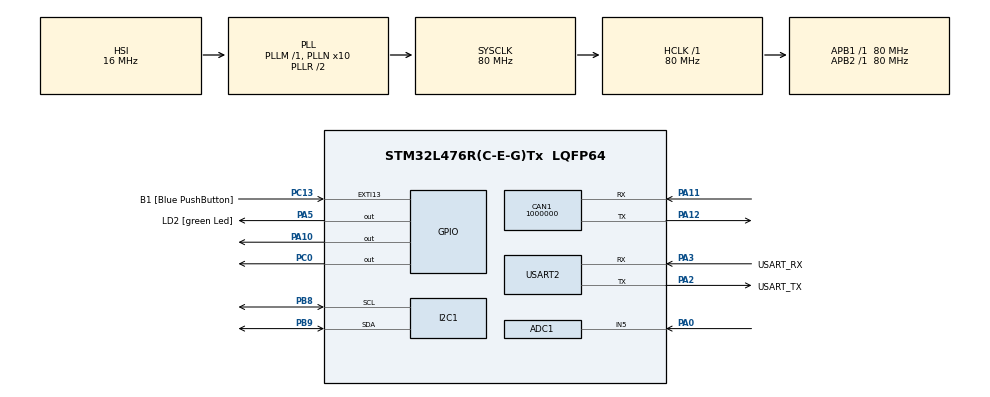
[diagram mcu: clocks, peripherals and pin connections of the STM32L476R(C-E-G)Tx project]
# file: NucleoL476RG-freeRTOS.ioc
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ADC1.Channel-0\#ChannelRegularConversion=ADC_CHANNEL_5
ADC1.NbrOfConversionFlag=1
ADC1.OffsetNumber-0\#ChannelRegularConversion=ADC_OFFSET_NONE
ADC1.Rank-0\#ChannelRegularConversion=1
ADC1.SamplingTime-0\#ChannelRegularConversion=ADC_SAMPLETIME_2CYCLES_5
ADC1.master=1
CAN1.BS1=CAN_BS1_2TQ
CAN1.BS2=CAN_BS2_2TQ
CAN1.CalculateBaudRate=1000000
CAN1.CalculateTimeBit=1000.00
CAN1.CalculateTimeQuantum=200.0
FREERTOS.Tasks01=defaultTask,24,128,StartDefaultTask,Default,NULL,Dynamic,NULL,NULL;blinkyTask01,16,128,StartBlinkyTask01,Default,NULL,Dynamic,NULL,NULL;ReadAndPrintTas,32,128,StartTaskReadAndPrint01,Default,NULL,Dynamic,NULL,NULL;updateLCD,16,128,StartTaskUpdateLCD,Default,NULL,Dynamic,NULL,NULL
I2C1.Timing=0x10909CEC
Mcu.Family=STM32L4
Mcu.Name=STM32L476R(C-E-G)Tx
Mcu.Package=LQFP64
NVIC.CAN1_RX0_IRQn=true\:5\:0\:false\:false\:true\:true\:true\:true
NVIC.PriorityGroup=NVIC_PRIORITYGROUP_4
NVIC.TIM6_DAC_IRQn=true\:0\:0\:false\:false\:true\:false\:false\:true
NVIC.TimeBase=TIM6_DAC_IRQn
NVIC.TimeBaseIP=TIM6
PA0.Signal=ADCx_IN5
PA10.Signal=GPIO_Output
PA11.Mode=CAN_Activate
PA11.Signal=CAN1_RX
PA12.Mode=CAN_Activate
PA12.Signal=CAN1_TX
PA13\ (JTMS-SWDIO).GPIO_Label=TMS
PA13\ (JTMS-SWDIO).Mode=Serial_Wire
PA13\ (JTMS-SWDIO).Signal=SYS_JTMS-SWDIO
PA14\ (JTCK-SWCLK).GPIO_Label=TCK
PA14\ (JTCK-SWCLK).Mode=Serial_Wire
PA14\ (JTCK-SWCLK).Signal=SYS_JTCK-SWCLK
PA2.GPIO_Label=USART_TX
PA2.GPIO_Mode=GPIO_MODE_AF_PP
PA2.GPIO_PuPd=GPIO_NOPULL
PA2.GPIO_Speed=GPIO_SPEED_FREQ_VERY_HIGH
PA2.Mode=Asynchronous
PA2.Signal=USART2_TX
PA3.GPIO_Label=USART_RX
PA3.GPIO_Mode=GPIO_MODE_AF_PP
PA3.GPIO_PuPd=GPIO_NOPULL
PA3.GPIO_Speed=GPIO_SPEED_FREQ_VERY_HIGH
PA3.Mode=Asynchronous
PA3.Signal=USART2_RX
PA5.GPIO_Label=LD2 [green Led]
PA5.GPIO_ModeDefaultOutputPP=GPIO_MODE_OUTPUT_PP
PA5.GPIO_PuPd=GPIO_NOPULL
PA5.GPIO_Speed=GPIO_SPEED_FREQ_LOW
PA5.Signal=GPIO_Output
PB3\ (JTDO-TRACESWO).GPIO_Label=SWO
PB3\ (JTDO-TRACESWO).Signal=SYS_JTDO-SWO
PB8.Mode=I2C
PB8.Signal=I2C1_SCL
PB9.Mode=I2C
PB9.Signal=I2C1_SDA
PC0.Signal=GPIO_Output
PC13.GPIO_Label=B1 [Blue PushButton]
PC13.GPIO_ModeDefaultEXTI=GPIO_MODE_IT_FALLING
PC13.GPIO_PuPd=GPIO_NOPULL
PC13.Signal=GPXTI13
PC14-OSC32_IN\ (PC14).Mode=LSE-External-Oscillator
PC14-OSC32_IN\ (PC14).Signal=RCC_OSC32_IN
PC15-OSC32_OUT\ (PC15).Mode=LSE-External-Oscillator
PC15-OSC32_OUT\ (PC15).Signal=RCC_OSC32_OUT
PH0-OSC_IN\ (PH0).Signal=RCC_OSC_IN
PH1-OSC_OUT\ (PH1).Signal=RCC_OSC_OUT
ProjectManager.HeapSize=0x200
ProjectManager.StackSize=0x400
ProjectManager.TargetToolchain=STM32CubeIDE
RCC.ADCFreq_Value=64000000
RCC.AHBFreq_Value=80000000
RCC.APB1Freq_Value=80000000
RCC.APB1TimFreq_Value=80000000
RCC.APB2Freq_Value=80000000
RCC.APB2TimFreq_Value=80000000
RCC.CortexFreq_Value=80000000
RCC.HCLKFreq_Value=80000000
RCC.HSE_VALUE=8000000
RCC.HSI_VALUE=16000000
RCC.MSI_VALUE=4000000
RCC.PLLN=10
RCC.PLLSourceVirtual=RCC_PLLSOURCE_HSI
RCC.PREFETCH_ENABLE=1
RCC.SYSCLKFreq_VALUE=80000000
RCC.SYSCLKSource=RCC_SYSCLKSOURCE_PLLCLK
RCC.USBFreq_Value=64000000
RCC.VCOOutputFreq_Value=160000000
SH.ADCx_IN5.0=ADC1_IN5,IN5-Single-Ended
USART2.VirtualMode-Asynchronous=VM_ASYNC
VP_FREERTOS_VS_CMSIS_V2.Mode=CMSIS_V2
VP_SYS_VS_tim6.Mode=TIM6
board=NUCLEO-L476RG

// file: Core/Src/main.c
/* USER CODE BEGIN Header */
/**
  ******************************************************************************
  * @file           : main.c
  * @brief          : Main program body
  ******************************************************************************
  * @attention
  *
  * <h2><center>&copy; Copyright (c) 2020 STMicroelectronics.
  * All rights reserved.</center></h2>
  *
  * This software component is licensed by ST under BSD 3-Clause license,
  * the "License"; You may not use this file except in compliance with the
  * License. You may obtain a copy of the License at:
  *                        opensource.org/licenses/BSD-3-Clause
  *
  ******************************************************************************
  */
/* USER CODE END Header */
#include "main.h"
#include "cmsis_os.h"

/* USER CODE BEGIN Includes */
#include <string.h>
#include <stdio.h>
#include "i2c-lcd.h"
/* USER CODE END Includes */

/* USER CODE BEGIN PD */

/*CONFIGURE FUNCTIONS HERE!
 * */

#define USING_LCD 1
#define ADC_READ 0
#define USING_UART 0
/* USER CODE END PD */

/* USER CODE BEGIN PM */
uint16_t raw;
char message[8];

CAN_HandleTypeDef hcan1;
CAN_TxHeaderTypeDef TxHeader;
CAN_RxHeaderTypeDef RxHeader;

//char CanMsg[8] ={"Mathias\0"};
//char comMsg[50];
uint16_t OwnID = 0x124, RemoteID = 0x0; //Swap OwnID when programming. Receiver: 0x124 Sender:0x123 RemoteID has no impact in current implementation.
//uint32_t startTime = 0, stopTime = 0;
/* USER CODE END PM */

ADC_HandleTypeDef hadc1;

CAN_HandleTypeDef hcan1;

I2C_HandleTypeDef hi2c1;

UART_HandleTypeDef huart2;

/* Definitions for defaultTask */
osThreadId_t defaultTaskHandle;
const osThreadAttr_t defaultTask_attributes = {
  .name = "defaultTask",
  .priority = (osPriority_t) osPriorityNormal,
  .stack_size = 128 * 4
};
/* Definitions for blinkyTask01 */
osThreadId_t blinkyTask01Handle;
const osThreadAttr_t blinkyTask01_attributes = {
  .name = "blinkyTask01",
  .priority = (osPriority_t) osPriorityBelowNormal,
  .stack_size = 128 * 4
};
/* Definitions for ReadAndPrintTas */
osThreadId_t ReadAndPrintTasHandle;
const osThreadAttr_t ReadAndPrintTas_attributes = {
  .name = "ReadAndPrintTas",
  .priority = (osPriority_t) osPriorityAboveNormal,
  .stack_size = 128 * 4
};
/* Definitions for updateLCD */
osThreadId_t updateLCDHandle;
const osThreadAttr_t updateLCD_attributes = {
  .name = "updateLCD",
  .priority = (osPriority_t) osPriorityBelowNormal,
  .stack_size = 128 * 4
};

void SystemClock_Config(void);
static void MX_GPIO_Init(void);
static void MX_USART2_UART_Init(void);
static void MX_ADC1_Init(void);
static void MX_CAN1_Init(void);
static void MX_I2C1_Init(void);
void StartDefaultTask(void *argument);
void StartBlinkyTask01(void *argument);
void StartTaskReadAndPrint01(void *argument);
void StartTaskUpdateLCD(void *argument);

/* USER CODE BEGIN PFP */
void serialMsg(char msg[]);
void serialClear(void);
void HAL_CAN_RxFifo0FullCallBack(CAN_HandleTypeDef *hcan);
void CAN_filterConfig(void);
void CAN_Tx(char msg[]);
void CAN_Rx(void);
//void delay(uint16_t delay);
/* USER CODE END PFP */

int main(void)
{

  /* MCU Configuration--------------------------------------------------------*/

  /* Reset of all peripherals, Initializes the Flash interface and the Systick. */
  HAL_Init();

  /* Configure the system clock */
  SystemClock_Config();

  /* Initialize all configured peripherals */
  MX_GPIO_Init();
  MX_USART2_UART_Init();
  MX_ADC1_Init();
  MX_CAN1_Init();
  MX_I2C1_Init();
  /* USER CODE BEGIN 2 */
  if(USING_LCD){
	  lcd_init();

	  lcd_send_string("LCD Init");

	  HAL_Delay(3000);

	  lcd_clear();
  }

  /* USER CODE END 2 */

  /* Init scheduler */
  osKernelInitialize();

  /* Create the thread(s) */
  /* creation of defaultTask */
  defaultTaskHandle = osThreadNew(StartDefaultTask, NULL, &defaultTask_attributes);

  /* creation of blinkyTask01 */
  blinkyTask01Handle = osThreadNew(StartBlinkyTask01, NULL, &blinkyTask01_attributes);

  /* creation of ReadAndPrintTas */
  ReadAndPrintTasHandle = osThreadNew(StartTaskReadAndPrint01, NULL, &ReadAndPrintTas_attributes);

  /* creation of updateLCD */
  updateLCDHandle = osThreadNew(StartTaskUpdateLCD, NULL, &updateLCD_attributes);

  /* Start scheduler */
  osKernelStart();

  /* We should never get here as control is now taken by the scheduler */
  /* Infinite loop */
  while (1)
  {

  }
}

void SystemClock_Config(void)
{
  RCC_OscInitTypeDef RCC_OscInitStruct = {0};
  RCC_ClkInitTypeDef RCC_ClkInitStruct = {0};
  RCC_PeriphCLKInitTypeDef PeriphClkInit = {0};

  /** Initializes the RCC Oscillators according to the specified parameters
  * in the RCC_OscInitTypeDef structure.
  */
  RCC_OscInitStruct.OscillatorType = RCC_OSCILLATORTYPE_HSI;
  RCC_OscInitStruct.HSIState = RCC_HSI_ON;
  RCC_OscInitStruct.HSICalibrationValue = RCC_HSICALIBRATION_DEFAULT;
  RCC_OscInitStruct.PLL.PLLState = RCC_PLL_ON;
  RCC_OscInitStruct.PLL.PLLSource = RCC_PLLSOURCE_HSI;
  RCC_OscInitStruct.PLL.PLLM = 1;
  RCC_OscInitStruct.PLL.PLLN = 10;
  RCC_OscInitStruct.PLL.PLLP = RCC_PLLP_DIV7;
  RCC_OscInitStruct.PLL.PLLQ = RCC_PLLQ_DIV2;
  RCC_OscInitStruct.PLL.PLLR = RCC_PLLR_DIV2;
  if (HAL_RCC_OscConfig(&RCC_OscInitStruct) != HAL_OK)
  {
    Error_Handler();
  }
  /** Initializes the CPU, AHB and APB buses clocks
  */
  RCC_ClkInitStruct.ClockType = RCC_CLOCKTYPE_HCLK|RCC_CLOCKTYPE_SYSCLK
                              |RCC_CLOCKTYPE_PCLK1|RCC_CLOCKTYPE_PCLK2;
  RCC_ClkInitStruct.SYSCLKSource = RCC_SYSCLKSOURCE_PLLCLK;
  RCC_ClkInitStruct.AHBCLKDivider = RCC_SYSCLK_DIV1;
  RCC_ClkInitStruct.APB1CLKDivider = RCC_HCLK_DIV1;
  RCC_ClkInitStruct.APB2CLKDivider = RCC_HCLK_DIV1;

  if (HAL_RCC_ClockConfig(&RCC_ClkInitStruct, FLASH_LATENCY_4) != HAL_OK)
  {
    Error_Handler();
  }
  PeriphClkInit.PeriphClockSelection = RCC_PERIPHCLK_USART2|RCC_PERIPHCLK_I2C1
                              |RCC_PERIPHCLK_ADC;
  PeriphClkInit.Usart2ClockSelection = RCC_USART2CLKSOURCE_PCLK1;
  PeriphClkInit.I2c1ClockSelection = RCC_I2C1CLKSOURCE_PCLK1;
  PeriphClkInit.AdcClockSelection = RCC_ADCCLKSOURCE_PLLSAI1;
  PeriphClkInit.PLLSAI1.PLLSAI1Source = RCC_PLLSOURCE_HSI;
  PeriphClkInit.PLLSAI1.PLLSAI1M = 1;
  PeriphClkInit.PLLSAI1.PLLSAI1N = 8;
  PeriphClkInit.PLLSAI1.PLLSAI1P = RCC_PLLP_DIV7;
  PeriphClkInit.PLLSAI1.PLLSAI1Q = RCC_PLLQ_DIV2;
  PeriphClkInit.PLLSAI1.PLLSAI1R = RCC_PLLR_DIV2;
  PeriphClkInit.PLLSAI1.PLLSAI1ClockOut = RCC_PLLSAI1_ADC1CLK;
  if (HAL_RCCEx_PeriphCLKConfig(&PeriphClkInit) != HAL_OK)
  {
    Error_Handler();
  }
  /** Configure the main internal regulator output voltage
  */
  if (HAL_PWREx_ControlVoltageScaling(PWR_REGULATOR_VOLTAGE_SCALE1) != HAL_OK)
  {
    Error_Handler();
  }
}

static void MX_ADC1_Init(void)
{

  ADC_MultiModeTypeDef multimode = {0};
  ADC_ChannelConfTypeDef sConfig = {0};

  /** Common config
  */
  hadc1.Instance = ADC1;
  hadc1.Init.ClockPrescaler = ADC_CLOCK_ASYNC_DIV1;
  hadc1.Init.Resolution = ADC_RESOLUTION_12B;
  hadc1.Init.DataAlign = ADC_DATAALIGN_RIGHT;
  hadc1.Init.ScanConvMode = ADC_SCAN_DISABLE;
  hadc1.Init.EOCSelection = ADC_EOC_SINGLE_CONV;
  hadc1.Init.LowPowerAutoWait = DISABLE;
  hadc1.Init.ContinuousConvMode = DISABLE;
  hadc1.Init.NbrOfConversion = 1;
  hadc1.Init.DiscontinuousConvMode = DISABLE;
  hadc1.Init.ExternalTrigConv = ADC_SOFTWARE_START;
  hadc1.Init.ExternalTrigConvEdge = ADC_EXTERNALTRIGCONVEDGE_NONE;
  hadc1.Init.DMAContinuousRequests = DISABLE;
  hadc1.Init.Overrun = ADC_OVR_DATA_PRESERVED;
  hadc1.Init.OversamplingMode = DISABLE;
  if (HAL_ADC_Init(&hadc1) != HAL_OK)
  {
    Error_Handler();
  }
  /** Configure the ADC multi-mode
  */
  multimode.Mode = ADC_MODE_INDEPENDENT;
  if (HAL_ADCEx_MultiModeConfigChannel(&hadc1, &multimode) != HAL_OK)
  {
    Error_Handler();
  }
  /** Configure Regular Channel
  */
  sConfig.Channel = ADC_CHANNEL_5;
  sConfig.Rank = ADC_REGULAR_RANK_1;
  sConfig.SamplingTime = ADC_SAMPLETIME_2CYCLES_5;
  sConfig.SingleDiff = ADC_SINGLE_ENDED;
  sConfig.OffsetNumber = ADC_OFFSET_NONE;
  sConfig.Offset = 0;
  if (HAL_ADC_ConfigChannel(&hadc1, &sConfig) != HAL_OK)
  {
    Error_Handler();
  }

}

static void MX_CAN1_Init(void)
{

  hcan1.Instance = CAN1;
  hcan1.Init.Prescaler = 16;
  hcan1.Init.Mode = CAN_MODE_NORMAL;
  hcan1.Init.SyncJumpWidth = CAN_SJW_1TQ;
  hcan1.Init.TimeSeg1 = CAN_BS1_2TQ;
  hcan1.Init.TimeSeg2 = CAN_BS2_2TQ;
  hcan1.Init.TimeTriggeredMode = DISABLE;
  hcan1.Init.AutoBusOff = DISABLE;
  hcan1.Init.AutoWakeUp = DISABLE;
  hcan1.Init.AutoRetransmission = DISABLE;
  hcan1.Init.ReceiveFifoLocked = DISABLE;
  hcan1.Init.TransmitFifoPriority = DISABLE;
  if (HAL_CAN_Init(&hcan1) != HAL_OK)
  {
    Error_Handler();
  }
  /* USER CODE BEGIN CAN1_Init 2 */
  CAN_FilterTypeDef sf;
  sf.FilterBank = 0;
  sf.FilterMode = CAN_FILTERMODE_IDMASK;
  sf.FilterScale = CAN_FILTERSCALE_16BIT;
  sf.FilterIdLow = 0xffff;
  sf.FilterIdHigh = 0x1fff;
  sf.FilterMaskIdLow = 0x0000;
  sf.FilterMaskIdHigh = 0x0000;
  sf.FilterFIFOAssignment = CAN_RX_FIFO0;
  sf.SlaveStartFilterBank = 0;
  sf.FilterActivation = ENABLE;
  if (HAL_CAN_ConfigFilter(&hcan1, &sf) != HAL_OK) {
      Error_Handler();
  }

  if (HAL_CAN_Start(&hcan1) != HAL_OK) {
      Error_Handler();
  }

  if (HAL_CAN_ActivateNotification(&hcan1, CAN_IT_RX_FIFO0_MSG_PENDING) != HAL_OK) {
      Error_Handler();
  }
  /* USER CODE END CAN1_Init 2 */

}

static void MX_I2C1_Init(void)
{

  hi2c1.Instance = I2C1;
  hi2c1.Init.Timing = 0x10909CEC;
  hi2c1.Init.OwnAddress1 = 0;
  hi2c1.Init.AddressingMode = I2C_ADDRESSINGMODE_7BIT;
  hi2c1.Init.DualAddressMode = I2C_DUALADDRESS_DISABLE;
  hi2c1.Init.OwnAddress2 = 0;
  hi2c1.Init.OwnAddress2Masks = I2C_OA2_NOMASK;
  hi2c1.Init.GeneralCallMode = I2C_GENERALCALL_DISABLE;
  hi2c1.Init.NoStretchMode = I2C_NOSTRETCH_DISABLE;
  if (HAL_I2C_Init(&hi2c1) != HAL_OK)
  {
    Error_Handler();
  }
  /** Configure Analogue filter
  */
  if (HAL_I2CEx_ConfigAnalogFilter(&hi2c1, I2C_ANALOGFILTER_ENABLE) != HAL_OK)
  {
    Error_Handler();
  }
  /** Configure Digital filter
  */
  if (HAL_I2CEx_ConfigDigitalFilter(&hi2c1, 0) != HAL_OK)
  {
    Error_Handler();
  }

}

static void MX_USART2_UART_Init(void)
{

  huart2.Instance = USART2;
  huart2.Init.BaudRate = 115200;
  huart2.Init.WordLength = UART_WORDLENGTH_8B;
  huart2.Init.StopBits = UART_STOPBITS_1;
  huart2.Init.Parity = UART_PARITY_NONE;
  huart2.Init.Mode = UART_MODE_TX_RX;
  huart2.Init.HwFlowCtl = UART_HWCONTROL_NONE;
  huart2.Init.OverSampling = UART_OVERSAMPLING_16;
  huart2.Init.OneBitSampling = UART_ONE_BIT_SAMPLE_DISABLE;
  huart2.AdvancedInit.AdvFeatureInit = UART_ADVFEATURE_NO_INIT;
  if (HAL_UART_Init(&huart2) != HAL_OK)
  {
    Error_Handler();
  }

}

static void MX_GPIO_Init(void)
{
  GPIO_InitTypeDef GPIO_InitStruct = {0};

  /* GPIO Ports Clock Enable */
  __HAL_RCC_GPIOC_CLK_ENABLE();
  __HAL_RCC_GPIOH_CLK_ENABLE();
  __HAL_RCC_GPIOA_CLK_ENABLE();
  __HAL_RCC_GPIOB_CLK_ENABLE();

  /*Configure GPIO pin Output Level */
  HAL_GPIO_WritePin(GPIOC, GPIO_PIN_0, GPIO_PIN_RESET);

  /*Configure GPIO pin Output Level */
  HAL_GPIO_WritePin(GPIOA, LD2_Pin|GPIO_PIN_10, GPIO_PIN_RESET);

  /*Configure GPIO pin : B1_Pin */
  GPIO_InitStruct.Pin = B1_Pin;
  GPIO_InitStruct.Mode = GPIO_MODE_IT_FALLING;
  GPIO_InitStruct.Pull = GPIO_NOPULL;
  HAL_GPIO_Init(B1_GPIO_Port, &GPIO_InitStruct);

  /*Configure GPIO pin : PC0 */
  GPIO_InitStruct.Pin = GPIO_PIN_0;
  GPIO_InitStruct.Mode = GPIO_MODE_OUTPUT_PP;
  GPIO_InitStruct.Pull = GPIO_NOPULL;
  GPIO_InitStruct.Speed = GPIO_SPEED_FREQ_LOW;
  HAL_GPIO_Init(GPIOC, &GPIO_InitStruct);

  /*Configure GPIO pins : LD2_Pin PA10 */
  GPIO_InitStruct.Pin = LD2_Pin|GPIO_PIN_10;
  GPIO_InitStruct.Mode = GPIO_MODE_OUTPUT_PP;
  GPIO_InitStruct.Pull = GPIO_NOPULL;
  GPIO_InitStruct.Speed = GPIO_SPEED_FREQ_LOW;
  HAL_GPIO_Init(GPIOA, &GPIO_InitStruct);

}

/* USER CODE BEGIN 4 */

void serialMsg(char msg[]){
	HAL_UART_Transmit(&huart2, (uint8_t*)msg, strlen(msg), HAL_MAX_DELAY);
}

void serialClear(void){
	serialMsg("\n\n\n\n\n\n\n\n\n\n\n\n\n\n\n\n\n\n\n\n\n\n\n\n\n");
}

void CAN_Tx(char msg[]){

	if(sizeof(*msg)<=8){
		TxHeader.DLC = 8;
		TxHeader.IDE = CAN_ID_STD;
		TxHeader.RTR = CAN_RTR_DATA;
		TxHeader.StdId = OwnID;
		TxHeader.TransmitGlobalTime = DISABLE;
		TxHeader.ExtId = 1;
		uint32_t TxMailBox;

		if(HAL_CAN_AddTxMessage(&hcan1, &TxHeader, (uint8_t*)msg, &TxMailBox) != HAL_OK) {
			Error_Handler();
		}

		while(HAL_CAN_IsTxMessagePending(&hcan1, TxMailBox));
		//serialMsg("Message transmitted!\n\r");
	}
	else return;
}

void CAN_Rx(void){

	uint8_t crx[8];
	RxHeader.DLC = 8;
	RxHeader.IDE = CAN_ID_STD;
	RxHeader.RTR = CAN_RTR_DATA;
	RxHeader.StdId = RemoteID;

	if(HAL_CAN_GetRxMessage(&hcan1, CAN_RX_FIFO0, &RxHeader, crx) != HAL_OK){
		Error_Handler();
		return;
	}
	HAL_Delay(1);
	if(USING_UART){
		serialMsg("Received message: ");
		serialMsg((char*)crx);
		serialMsg("\n\r");
	}
	if(USING_LCD)
			strcpy(message, crx);

}

void CAN_filterConfig(void){
	CAN_FilterTypeDef filterConfig;
	filterConfig.FilterBank = 0;
	filterConfig.FilterActivation = ENABLE;
	filterConfig.FilterFIFOAssignment = CAN_FILTER_FIFO0;
	filterConfig.FilterIdHigh = 0x0000;
	filterConfig.FilterIdLow = 0x0000;
	filterConfig.FilterMaskIdHigh = 0x0000;
	filterConfig.FilterMaskIdLow = 0x0000;
	filterConfig.FilterMode = CAN_FILTERMODE_IDMASK;
	filterConfig.FilterScale = CAN_FILTERSCALE_16BIT;

	HAL_CAN_ConfigFilter(&hcan1, &filterConfig);
}
/* USER CODE END 4 */

void StartDefaultTask(void *argument)
{
  for(;;)
  {
    osDelay(1);
  }
}

void StartBlinkyTask01(void *argument)
{
  /* USER CODE BEGIN StartBlinkyTask01 */
  /* Infinite loop */
  for(;;)
  {
	HAL_GPIO_TogglePin(GPIOA, GPIO_PIN_5);
    osDelay(500);
  }
  /* USER CODE END StartBlinkyTask01 */
}

void StartTaskReadAndPrint01(void *argument)
{
  /* USER CODE BEGIN StartTaskReadAndPrint01 */
  /* Infinite loop */
  for(;;)
  {
	  if(ADC_READ){
		  HAL_GPIO_WritePin(GPIOA, GPIO_PIN_10, GPIO_PIN_SET);

		  HAL_ADC_Start(&hadc1);
		  HAL_ADC_PollForConversion(&hadc1, HAL_MAX_DELAY);
		  raw = HAL_ADC_GetValue(&hadc1);

		  HAL_GPIO_WritePin(GPIOA, GPIO_PIN_10,  GPIO_PIN_RESET);

		  sprintf(message, "%hu", raw);
		  CAN_Tx(message);
		  if(USING_UART)
			  HAL_UART_Transmit(&huart2, (uint8_t*)message, strlen(message), HAL_MAX_DELAY);

		  HAL_Delay(1);
	  }

	  osDelay(100);
  }
  /* USER CODE END StartTaskReadAndPrint01 */
}

void StartTaskUpdateLCD(void *argument)
{
  /* USER CODE BEGIN StartTaskUpdateLCD */
  /* Infinite loop */
  for(;;)
  {
	  if(USING_LCD){
		  lcd_clear();
		  HAL_Delay(10);
		  lcd_put_cur(0, 0);
		  HAL_Delay(10);
		  lcd_send_string(message);
	  }
	  osDelay(1000);
  }
  /* USER CODE END StartTaskUpdateLCD */
}

 /**
  * @brief  Period elapsed callback in non blocking mode
  * @note   This function is called  when TIM6 interrupt took place, inside
  * HAL_TIM_IRQHandler(). It makes a direct call to HAL_IncTick() to increment
  * a global variable "uwTick" used as application time base.
  * @param  htim : TIM handle
  * @retval None
  */
void HAL_TIM_PeriodElapsedCallback(TIM_HandleTypeDef *htim)
{
  if (htim->Instance == TIM6) {
    HAL_IncTick();
  }
}

void Error_Handler(void)
{
}

/************************ (C) COPYRIGHT STMicroelectronics *****END OF FILE****/
